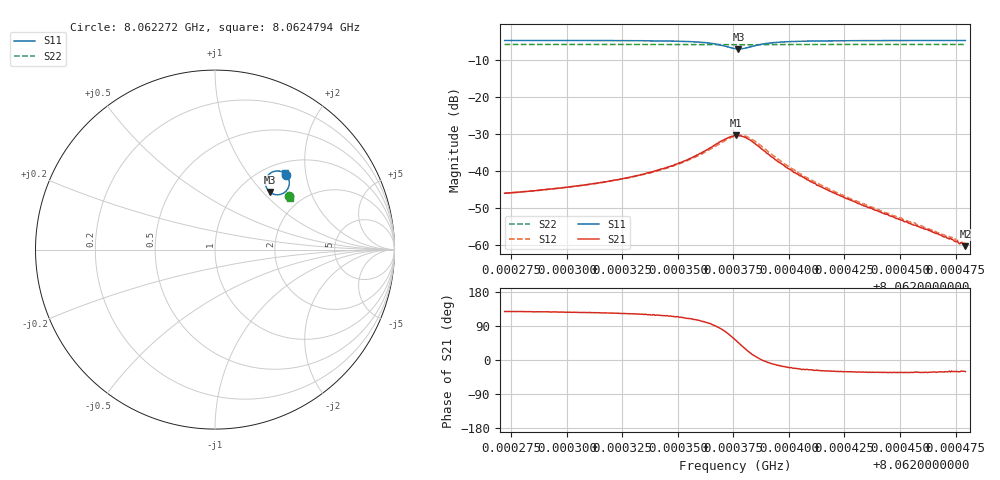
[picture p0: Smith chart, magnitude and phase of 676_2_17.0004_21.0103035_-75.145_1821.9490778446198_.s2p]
#  HZ  S  RI  R  50.00
! Rohde & Schwarz Vector Network Analyzer
! Rohde-Schwarz,ZNB20-2Port,1311601062101988,3.16
! Created: UTC 3/20/2024, 11:22:22 PM
! freq[Hz]  re:S11  im:S11  re:S21  im:S21  re:S12  im:S12  re:S22  im:S22
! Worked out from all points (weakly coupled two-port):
!   401 points, 8.062272 GHz to 8.0624794 GHz, reference 50 ohm
!   highest |S21| = -30.40 dB at 8.0623762 GHz (marker M1); lowest = -60.2 dB at 8.0624794 GHz (marker M2)
!   lowest |S11| = -7.1 dB at 8.0623773 GHz (marker M3), VSWR 2.59, Z = 68.4 + j54.7 ohm
!   |S11| at or under -10 dB: nowhere
!   |S22| runs from -6.0 to -5.9 dB; largest |S21 - S12| = 0.0021
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8.06227202e9  0.396 0.4179  -0.00309 0.00394  -0.00288 0.00415  0.4138 0.296
8.06229536e9  0.3996 0.4136  -0.00351 0.00469  -0.00321 0.00485  0.4147 0.2949
8.06230677e9  0.4017 0.4106  -0.0037 0.00523  -0.0034 0.00543  0.4151 0.2939
8.06232595e9  0.406 0.4034  -0.0043 0.00673  -0.0039 0.00693  0.4159 0.2925
8.06234151e9  0.4108 0.3923  -0.0048 0.00905  -0.00448 0.00928  0.4164 0.2914
8.06235343e9  0.4139 0.3748  -0.00478 0.013  -0.00447 0.0129  0.4168 0.29
8.06236484e9  0.4047 0.3382  -0.00188 0.0207  -0.0014 0.0199  0.4163 0.2879
8.0623721e9  0.3616 0.3069  0.00869 0.0264  0.00755 0.0257  0.4146 0.2865
8.06237573e9  0.3206 0.311  0.0178 0.0242  0.0161 0.025  0.4129 0.2868
8.06237625e9  0.3148 0.3139  0.0189 0.0236  0.0174 0.0243  0.4126 0.2869
8.06237728e9  0.304 0.3215  0.0211 0.0215  0.0198 0.0229  0.4122 0.2873
8.06237936e9  0.2879 0.342  0.0241 0.0165  0.0238 0.0184  0.4115 0.2882
8.06238195e9  0.281 0.3712  0.025 0.00977  0.0257 0.0115  0.4114 0.2898
8.06238506e9  0.2873 0.4003  0.0227 0.0036  0.0243 0.00444  0.412 0.2909
8.06238921e9  0.3047 0.4228  0.0184 -0.000997  0.0198 -0.00118  0.4132 0.2918
8.06239906e9  0.3383 0.4376  0.0106 -0.00362  0.0112 -0.00418  0.4156 0.2915
8.0624058e9  0.3514 0.4383  0.00768 -0.00364  0.00789 -0.00399  0.4164 0.2912
8.06241047e9  0.3579 0.4375  0.00636 -0.0031  0.00651 -0.00366  0.4168 0.2908
8.06242758e9  0.3718 0.4336  0.00349 -0.00211  0.00353 -0.0024  0.418 0.2895
8.06244521e9  0.3794 0.4304  0.0021 -0.00136  0.0021 -0.00159  0.4189 0.2885
8.06246284e9  0.384 0.4276  0.00134 -0.000855  0.00132 -0.000975  0.4196 0.2873
8.06247943e9  0.3873 0.4256  0.000837 -0.000494  0.000885 -0.000595  0.4202 0.2865
